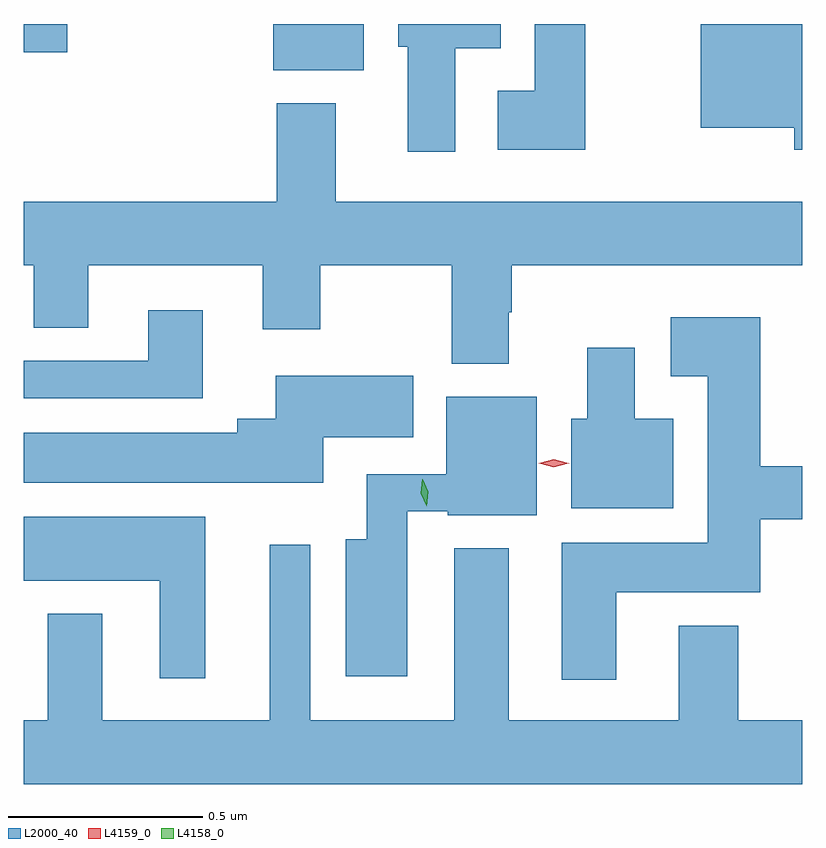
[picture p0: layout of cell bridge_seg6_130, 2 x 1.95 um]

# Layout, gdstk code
import gdstk
lib = gdstk.Library(unit=1e-6, precision=1e-09)
def R(c, l, rs):  # rectangles x0, y0, x1, y1
    for r in rs: c.add(gdstk.rectangle(r[:2], r[2:], *l))
def P(c, l, *ps):  # polygons
    for p in ps: c.add(gdstk.Polygon(p, *l))
L2000_40 = (2000, 40)
L4158_0 = (4158, 0)
L4159_0 = (4159, 0)

bridge_seg6_130 = lib.new_cell('bridge_seg6_130')
R(bridge_seg6_130, L2000_40, [(490.586,971.813,490.819,971.932), (489.945,971.86,490.057,971.932)])
P(bridge_seg6_130, L2000_40, [(491.053,971.87),(491.17,971.87),(491.17,971.932),(490.907,971.932),(490.907,971.874),(490.931,971.874),(490.931,971.604),(491.053,971.604)],
  [(491.945,971.932),(491.684,971.932),(491.684,971.666),(491.924,971.666),(491.924,971.609),(491.945,971.609)],
  [(491.388,971.932),(491.258,971.932),(491.258,971.761),(491.163,971.761),(491.163,971.609),(491.388,971.609)],
  [(491.191,971.192),(491.199,971.192),(491.199,971.312),(491.945,971.312),(491.945,971.476),(490.747,971.476),(490.747,971.728),(490.595,971.728),(490.595,971.476),(489.945,971.476),(489.945,971.312),(489.971,971.312),(489.971,971.152),(490.111,971.152),(490.111,971.312),(490.559,971.312),(490.559,971.148),(490.707,971.148),(490.707,971.312),(491.044,971.312),(491.044,971.06),(491.191,971.06)],
  [(490.405,971.197),(490.265,971.197),(490.265,971.067),(489.945,971.067),(489.945,970.971),(490.405,970.971)],
  [(491.467,970.472),(491.837,970.472),(491.837,970.66),(491.945,970.66),(491.945,970.796),(491.837,970.796),(491.837,971.179),(491.607,971.179),(491.607,971.027),(491.702,971.027),(491.702,970.6),(491.327,970.6),(491.327,970.248),(491.467,970.248)],
  [(491.614,970.918),(491.515,970.918),(491.515,971.101),(491.393,971.101),(491.393,970.918),(491.351,970.918),(491.351,970.688),(491.614,970.688)],
  [(490.714,970.871),(490.945,970.871),(490.945,971.029),(490.592,971.029),(490.592,970.918),(490.493,970.918),(490.493,970.882),(489.945,970.882),(489.945,970.754),(490.714,970.754)],
  [(490.93,970.68),(491.034,970.68),(491.034,970.67),(491.263,970.67),(491.263,970.975),(491.03,970.975),(491.03,970.776),(490.826,970.776),(490.826,970.609),(490.772,970.609),(490.772,970.257),(490.93,970.257)],
  [(490.411,970.666),(489.945,970.666),(489.945,970.502),(490.295,970.502),(490.295,970.251),(490.411,970.251)],
  [(490.007,970.417),(490.007,970.144),(489.945,970.144),(489.945,969.98),(491.945,969.98),(491.945,970.144),(491.78,970.144),(491.78,970.387),(491.627,970.387),(491.627,970.144),(491.191,970.144),(491.191,970.585),(491.051,970.585),(491.051,970.144),(490.681,970.144),(490.681,970.594),(490.577,970.594),(490.577,970.144),(490.147,970.144),(490.147,970.417)])
P(bridge_seg6_130, L4158_0, [(490.98,970.693),(490.98,970.694),(490.965,970.727),(490.969,970.763),(490.969,970.763),(490.97,970.763),(490.984,970.73),(490.98,970.694)])
P(bridge_seg6_130, L4159_0, [(491.307,970.794),(491.268,970.804),(491.268,970.804),(491.268,970.804),(491.307,970.814),(491.345,970.804),(491.346,970.804),(491.345,970.804)])

lib.write_gds('bridge_seg6_130.gds')
